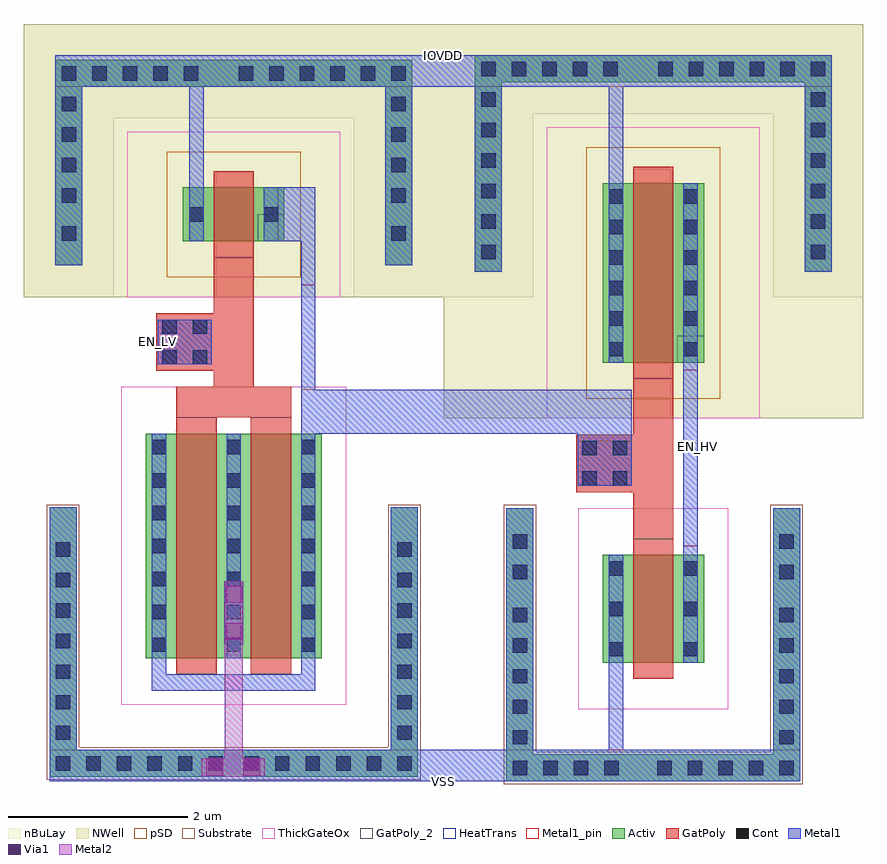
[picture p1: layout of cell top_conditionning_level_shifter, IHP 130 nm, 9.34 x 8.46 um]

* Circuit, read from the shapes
.subckt top_conditionning_level_shifter EN_HV EN_LV IOVDD VSS
XM1 VSS EN_LV top_conditionning_inverter_1/X VSS sg13_hv_nmos w=2.5u l=0.45u m=2
XM2 EN_HV top_conditionning_inverter_1/X VSS VSS sg13_hv_nmos w=1.2u l=0.45u
XM3 top_conditionning_inverter_1/X EN_LV IOVDD IOVDD sg13_hv_pmos w=0.6u l=0.45u
XM4 EN_HV top_conditionning_inverter_1/X IOVDD IOVDD sg13_hv_pmos w=2u l=0.45u
.ends

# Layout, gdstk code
import gdstk
lib = gdstk.Library(unit=1e-6, precision=1e-09)
def R(c, l, rs):  # rectangles x0, y0, x1, y1
    for r in rs: c.add(gdstk.rectangle(r[:2], r[2:], *l))
def A(c, l, x, y, w, h, nx, ny, dx, dy):  # array of equal rectangles
    R(c, l, [(x+i*dx, y+j*dy, x+i*dx+w, y+j*dy+h) for i in range(nx) for j in range(ny)])
Activ = (1, 0)
GatPoly = (5, 0)
GatPoly_2 = (5, 2)
Cont = (6, 0)
Metal1 = (8, 0)
Metal1_pin = (8, 2)
Metal2 = (10, 0)
pSD = (14, 0)
Via1 = (19, 0)
NWell = (31, 0)
nBuLay = (32, 0)
Substrate = (40, 0)
ThickGateOx = (44, 0)
HeatTrans = (51, 0)

pmoshv_9 = lib.new_cell('pmosHV$9')
R(pmoshv_9, Activ, [(0,0,0.3,0.3), (0,0,1.13,0.6), (0.83,0,1.13,0.3)])
R(pmoshv_9, GatPoly, [(0.34,-0.18,0.79,0.78)])
R(pmoshv_9, GatPoly_2, [(0.34,-0.18,0.79,0.78)])
R(pmoshv_9, Cont, [(0.07,0.22,0.23,0.38), (0.9,0.22,1.06,0.38)])
R(pmoshv_9, Metal1, [(0.07,0,0.23,0.6), (0.9,0,1.06,0.6)])
R(pmoshv_9, Metal1_pin, [(0.07,0,0.23,0.6), (0.9,0,1.06,0.6)])
R(pmoshv_9, pSD, [(-0.18,-0.4,1.31,1)])
R(pmoshv_9, NWell, [(-0.62,-0.62,1.75,1.22)])
R(pmoshv_9, Substrate, [(0.83,0,1.13,0.3)])
R(pmoshv_9, ThickGateOx, [(-0.62,-0.62,1.75,1.22)])
R(pmoshv_9, HeatTrans, [(0.34,-0.18,0.79,0.78)])
pmoshv_9.add(gdstk.Label('pmosHV', (0.565,0.3), layer=63, texttype=0))
pmoshv_9.add(gdstk.Label('pmos', (0.565,0.3), layer=51, texttype=0))

nmoshv_9 = lib.new_cell('nmosHV$9')
A(nmoshv_9, Activ, 0, 0, 0.3, 0.3, 3, 1, 0.83, 0)
R(nmoshv_9, Activ, [(0,0,1.96,2.5)])
R(nmoshv_9, GatPoly, [(0.34,-0.18,0.79,2.68), (1.17,-0.18,1.62,2.68)])
R(nmoshv_9, GatPoly_2, [(0.34,-0.18,0.79,2.68)])
A(nmoshv_9, Cont, 0.07, 0.07, 0.16, 0.16, 3, 3, 0.83, 0.365)
A(nmoshv_9, Cont, 0.07, 1.17, 0.16, 0.16, 3, 3, 0.83, 0.365)
A(nmoshv_9, Cont, 0.07, 2.27, 0.16, 0.16, 3, 1, 0.83, 0)
A(nmoshv_9, Metal1, 0.07, 0, 0.16, 2.5, 3, 1, 0.83, 0)
R(nmoshv_9, Metal1_pin, [(0.07,0,0.23,2.5), (0.9,0,1.06,2.5)])
R(nmoshv_9, ThickGateOx, [(-0.27,-0.52,2.23,3.02)])
R(nmoshv_9, HeatTrans, [(0.34,-0.18,0.79,2.68), (1.17,-0.18,1.62,2.68)])
nmoshv_9.add(gdstk.Label('nmosHV', (0.565,1.25), layer=63, texttype=0))
nmoshv_9.add(gdstk.Label('nmosHV', (0.565,1.25), layer=51, texttype=0))
nmoshv_9.add(gdstk.Label('nmosHV', (1.395,1.25), layer=51, texttype=0))

via_stack_42 = lib.new_cell('via_stack$42')
R(via_stack_42, Metal1, [(-0.105,-0.35,0.105,0.35)])
R(via_stack_42, Metal2, [(-0.1,-0.35,0.1,0.35)])
R(via_stack_42, Via1, [(-0.095,-0.3,0.095,-0.11), (-0.095,0.11,0.095,0.3)])

via_stack_40 = lib.new_cell('via_stack$40')
R(via_stack_40, Metal1, [(-0.35,-0.105,0.35,0.105)])
R(via_stack_40, Metal2, [(-0.35,-0.1,0.35,0.1)])
R(via_stack_40, Via1, [(-0.3,-0.095,-0.11,0.095), (0.11,-0.095,0.3,0.095)])

via_stack_55 = lib.new_cell('via_stack$55')
R(via_stack_55, GatPoly, [(-0.32,-0.32,0.32,0.32)])
R(via_stack_55, Cont, [(-0.25,-0.25,-0.09,-0.09), (0.09,-0.25,0.25,-0.09), (-0.25,0.09,-0.09,0.25), (0.09,0.09,0.25,0.25)])
R(via_stack_55, Metal1, [(-0.3,-0.25,0.3,0.25)])

top_conditionning_level_ = lib.new_cell('top_conditionning_level_shifter_s1')
R(top_conditionning_level_, Activ, [(-2.05,-4.84,2.05,-4.54), (-2.05,-4.54,-1.75,-1.84), (1.75,-4.54,2.05,-1.84), (-1.985,0.855,-1.685,2.84), (1.685,0.855,1.985,2.84), (-1.985,2.84,1.985,3.14)])
R(top_conditionning_level_, GatPoly, [(-0.64,-0.84,0.64,-0.5), (-0.225,-0.84,0.225,0.94)])
A(top_conditionning_level_, Cont, -1.98, -4.77, 0.16, 0.16, 6, 1, 0.34, 0)
A(top_conditionning_level_, Cont, 0.12, -4.77, 0.16, 0.16, 6, 1, 0.34, 0)
A(top_conditionning_level_, Cont, -1.98, -4.43, 0.16, 0.16, 1, 7, 0, 0.34)
A(top_conditionning_level_, Cont, 1.82, -4.43, 0.16, 0.16, 1, 7, 0, 0.34)
A(top_conditionning_level_, Cont, -1.915, 1.55, 0.16, 0.16, 1, 4, 0, 0.34)
A(top_conditionning_level_, Cont, 1.755, 1.55, 0.16, 0.16, 1, 4, 0, 0.34)
A(top_conditionning_level_, Cont, -1.915, 2.91, 0.16, 0.16, 5, 1, 0.34, 0)
A(top_conditionning_level_, Cont, 0.055, 2.91, 0.16, 0.16, 6, 1, 0.34, 0)
R(top_conditionning_level_, Cont, [(-1.915,1.13,-1.755,1.29), (1.755,1.13,1.915,1.29)])
R(top_conditionning_level_, Metal1, [(-2.05,-4.84,2.05,-4.54), (-2.05,-4.54,-1.75,-1.84), (1.75,-4.54,2.05,-1.84), (-0.91,-3.88,0.91,-3.7), (-0.91,-3.88,-0.75,-3.21), (0.75,-3.88,0.91,-3.16), (0.75,-1.23,0.91,1.72), (-1.985,0.855,-1.685,2.84), (1.685,0.855,1.985,2.84), (-0.495,1.12,-0.335,3.14), (0.335,1.12,0.91,1.72), (-1.985,2.84,1.985,3.14)])
R(top_conditionning_level_, Metal1_pin, [(-2.05,-4.84,2.05,-4.54), (0.75,-0.53,0.91,0.64), (-0.845,-0.25,-0.245,0.25), (-1.985,2.84,1.985,3.14)])
R(top_conditionning_level_, Metal2, [(-0.1,-4.84,0.1,-3.28)])
R(top_conditionning_level_, pSD, [(-2.08,-4.87,2.08,-4.51), (-2.08,-4.51,-1.72,-1.81), (1.72,-4.51,2.08,-1.81)])
R(top_conditionning_level_, NWell, [(-2.335,0.5,2.335,3.54)])
R(top_conditionning_level_, nBuLay, [(-2.335,0.5,-1.335,2.49), (1.335,0.5,2.335,2.49), (-2.335,2.49,2.335,3.54)])
R(top_conditionning_level_, Substrate, [(-2.08,-4.87,2.08,-4.51), (-2.08,-4.51,-1.72,-1.81), (1.72,-4.51,2.08,-1.81)])
top_conditionning_level_.add(gdstk.Reference(pmoshv_9, (-0.565,1.12)))
top_conditionning_level_.add(gdstk.Reference(nmoshv_9, (-0.98,-3.52)))
top_conditionning_level_.add(gdstk.Reference(via_stack_42, (0,-3.015)))
top_conditionning_level_.add(gdstk.Reference(via_stack_40, (-0.005,-4.735)))
top_conditionning_level_.add(gdstk.Reference(via_stack_55, (-0.545,0)))
top_conditionning_level_.add(gdstk.Label('iovdd', (0,3.14), layer=8, texttype=2))
top_conditionning_level_.add(gdstk.Label('vss', (0,-4.84), layer=8, texttype=2))
top_conditionning_level_.add(gdstk.Label('X', (-0.845,0), layer=8, texttype=2))
top_conditionning_level_.add(gdstk.Label('Y', (0.91,0), layer=8, texttype=2))

pmoshv_10 = lib.new_cell('pmosHV$10')
R(pmoshv_10, Activ, [(0,0,0.3,0.3), (0,0,1.13,2), (0.83,0,1.13,0.3)])
R(pmoshv_10, GatPoly, [(0.34,-0.18,0.79,2.18)])
R(pmoshv_10, GatPoly_2, [(0.34,-0.18,0.79,2.18)])
A(pmoshv_10, Cont, 0.07, 0.07, 0.16, 0.16, 1, 6, 0, 0.34)
A(pmoshv_10, Cont, 0.9, 0.07, 0.16, 0.16, 1, 6, 0, 0.34)
R(pmoshv_10, Metal1, [(0.07,0,0.23,2), (0.9,0,1.06,2)])
R(pmoshv_10, Metal1_pin, [(0.07,0,0.23,2), (0.9,0,1.06,2)])
R(pmoshv_10, pSD, [(-0.18,-0.4,1.31,2.4)])
R(pmoshv_10, NWell, [(-0.62,-0.62,1.75,2.62)])
R(pmoshv_10, Substrate, [(0.83,0,1.13,0.3)])
R(pmoshv_10, ThickGateOx, [(-0.62,-0.62,1.75,2.62)])
R(pmoshv_10, HeatTrans, [(0.34,-0.18,0.79,2.18)])
pmoshv_10.add(gdstk.Label('pmosHV', (0.565,1), layer=63, texttype=0))
pmoshv_10.add(gdstk.Label('pmos', (0.565,1), layer=51, texttype=0))

nmoshv_8 = lib.new_cell('nmosHV$8')
R(nmoshv_8, Activ, [(0,0,0.3,0.3), (0,0,1.13,1.2), (0.83,0,1.13,0.3)])
R(nmoshv_8, GatPoly, [(0.34,-0.18,0.79,1.38)])
R(nmoshv_8, GatPoly_2, [(0.34,-0.18,0.79,1.38)])
A(nmoshv_8, Cont, 0.07, 0.07, 0.16, 0.16, 1, 3, 0, 0.45)
A(nmoshv_8, Cont, 0.9, 0.07, 0.16, 0.16, 1, 3, 0, 0.45)
R(nmoshv_8, Metal1, [(0.07,0,0.23,1.2), (0.9,0,1.06,1.2)])
R(nmoshv_8, Metal1_pin, [(0.07,0,0.23,1.2), (0.9,0,1.06,1.2)])
R(nmoshv_8, ThickGateOx, [(-0.27,-0.52,1.4,1.72)])
R(nmoshv_8, HeatTrans, [(0.34,-0.18,0.79,1.38)])
nmoshv_8.add(gdstk.Label('nmosHV', (0.565,0.6), layer=63, texttype=0))
nmoshv_8.add(gdstk.Label('nmosHV', (0.565,0.6), layer=51, texttype=0))

top_conditionning_invert = lib.new_cell('top_conditionning_inverter')
R(top_conditionning_invert, Activ, [(-1.635,-3.54,1.635,-3.24), (-1.635,-3.24,-1.335,-0.5), (1.335,-3.24,1.635,-0.5), (-1.985,2.13,-1.685,4.24), (1.685,2.13,1.985,4.24), (-1.985,4.24,1.985,4.54)])
R(top_conditionning_invert, GatPoly, [(-0.225,-0.945,0.225,1.045)])
A(top_conditionning_invert, Cont, -1.565, -3.47, 0.16, 0.16, 4, 1, 0.34, 0)
A(top_conditionning_invert, Cont, 0.045, -3.47, 0.16, 0.16, 5, 1, 0.34, 0)
A(top_conditionning_invert, Cont, -1.565, -3.13, 0.16, 0.16, 1, 5, 0, 0.34)
A(top_conditionning_invert, Cont, 1.405, -3.13, 0.16, 0.16, 1, 5, 0, 0.34)
A(top_conditionning_invert, Cont, -1.915, 2.27, 0.16, 0.16, 1, 6, 0, 0.34)
A(top_conditionning_invert, Cont, 1.755, 2.27, 0.16, 0.16, 1, 6, 0, 0.34)
A(top_conditionning_invert, Cont, -1.915, 4.31, 0.16, 0.16, 5, 1, 0.34, 0)
A(top_conditionning_invert, Cont, 0.055, 4.31, 0.16, 0.16, 6, 1, 0.34, 0)
R(top_conditionning_invert, Cont, [(-1.565,-1.29,-1.405,-1.13), (1.405,-1.29,1.565,-1.13), (-1.565,-0.95,-1.405,-0.79), (1.405,-0.95,1.565,-0.79)])
R(top_conditionning_invert, Metal1, [(-1.635,-3.54,1.635,-3.24), (-0.495,-3.54,-0.335,-2), (-1.635,-3.24,-1.335,-0.5), (1.335,-3.24,1.635,-0.5), (0.335,-1.565,0.495,1.45), (-1.985,2.13,-1.685,4.24), (1.685,2.13,1.985,4.24), (-0.495,2.745,-0.335,4.54), (-1.985,4.24,1.985,4.54)])
R(top_conditionning_invert, Metal1_pin, [(-1.635,-3.54,1.635,-3.24), (0.335,-0.925,0.495,1.04), (-0.84,-0.25,-0.24,0.25), (-1.985,4.24,1.985,4.54)])
R(top_conditionning_invert, pSD, [(-1.665,-3.57,1.665,-3.21), (-1.665,-3.21,-1.305,-0.46), (1.305,-3.21,1.665,-0.46)])
R(top_conditionning_invert, NWell, [(-2.335,0.5,2.335,4.89)])
R(top_conditionning_invert, nBuLay, [(-2.335,1.85,-1.335,3.89), (1.335,1.85,2.335,3.89), (-2.335,3.89,2.335,4.89)])
R(top_conditionning_invert, Substrate, [(-1.665,-3.57,1.665,-3.21), (-1.665,-3.21,-1.305,-0.46), (1.305,-3.21,1.665,-0.46)])
top_conditionning_invert.add(gdstk.Reference(pmoshv_10, (-0.565,1.12)))
top_conditionning_invert.add(gdstk.Reference(nmoshv_8, (-0.565,-2.22)))
top_conditionning_invert.add(gdstk.Reference(via_stack_55, (-0.54,0)))
top_conditionning_invert.add(gdstk.Label('Y', (0.495,-0.005), layer=8, texttype=2))
top_conditionning_invert.add(gdstk.Label('X', (-0.84,0), layer=8, texttype=2))
top_conditionning_invert.add(gdstk.Label('vss', (0,-3.54), layer=8, texttype=2))
top_conditionning_invert.add(gdstk.Label('iovdd', (0,4.54), layer=8, texttype=2))

c_top_conditionning_level_ = lib.new_cell('top_conditionning_level_shifter')
R(c_top_conditionning_level_, Metal1, [(-4.385,-4.2,3.97,-3.85), (1.495,-0.91,2.095,0.16), (-1.585,-0.33,2.095,0.16), (-4.32,3.53,4.32,3.88)])
R(c_top_conditionning_level_, Metal1_pin, [(-4.385,-4.2,3.97,-3.85), (-4.32,3.53,4.32,3.88)])
c_top_conditionning_level_.add(gdstk.Reference(top_conditionning_level_, (-2.335,0.69)))
c_top_conditionning_level_.add(gdstk.Reference(top_conditionning_invert, (2.335,-0.66)))
c_top_conditionning_level_.add(gdstk.Label('IOVDD', (0,3.88), layer=8, texttype=2))
c_top_conditionning_level_.add(gdstk.Label('VSS', (0.005,-4.2), layer=8, texttype=2))
c_top_conditionning_level_.add(gdstk.Label('EN_LV', (-3.18,0.7), layer=8, texttype=2))
c_top_conditionning_level_.add(gdstk.Label('EN_HV', (2.83,-0.47), layer=8, texttype=2))

lib.write_gds('top_conditionning_level_shifter.gds')
